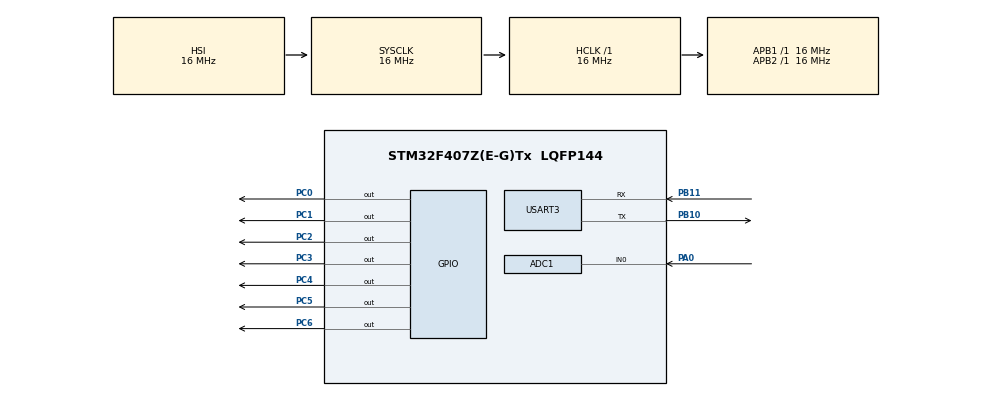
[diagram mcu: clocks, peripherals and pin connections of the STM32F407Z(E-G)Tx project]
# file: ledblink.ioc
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ADC1.Channel-0\#ChannelRegularConversion=ADC_CHANNEL_0
ADC1.ContinuousConvMode=ENABLE
ADC1.EOCSelection=ADC_EOC_SEQ_CONV
ADC1.NbrOfConversionFlag=1
ADC1.Rank-0\#ChannelRegularConversion=1
ADC1.SamplingTime-0\#ChannelRegularConversion=ADC_SAMPLETIME_3CYCLES
ADC1.master=1
Mcu.Family=STM32F4
Mcu.Name=STM32F407Z(E-G)Tx
Mcu.Package=LQFP144
NVIC.PriorityGroup=NVIC_PRIORITYGROUP_4
PA0-WKUP.Signal=ADCx_IN0
PA13.Mode=JTAG_4_pins
PA13.Signal=SYS_JTMS-SWDIO
PA14.Mode=JTAG_4_pins
PA14.Signal=SYS_JTCK-SWCLK
PA15.Mode=JTAG_4_pins
PA15.Signal=SYS_JTDI
PB10.Mode=Asynchronous
PB10.Signal=USART3_TX
PB11.Mode=Asynchronous
PB11.Signal=USART3_RX
PB3.Mode=JTAG_4_pins
PB3.Signal=SYS_JTDO-SWO
PC0.Signal=GPIO_Output
PC1.Signal=GPIO_Output
PC2.Signal=GPIO_Output
PC3.Signal=GPIO_Output
PC4.Signal=GPIO_Output
PC5.Signal=GPIO_Output
PC6.Signal=GPIO_Output
ProjectManager.HeapSize=0x200
ProjectManager.StackSize=0x400
ProjectManager.TargetToolchain=STM32CubeIDE
RCC.AHBFreq_Value=16000000
RCC.APB1Freq_Value=16000000
RCC.APB2Freq_Value=16000000
RCC.CortexFreq_Value=16000000
RCC.HSE_VALUE=25000000
RCC.HSI_VALUE=16000000
RCC.LSE_VALUE=32768
RCC.SYSCLKFreq_VALUE=16000000
RCC.VCOOutputFreq_Value=192000000
SH.ADCx_IN0.0=ADC1_IN0,IN0
USART3.VirtualMode=VM_ASYNC
board=custom

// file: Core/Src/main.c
/* USER CODE BEGIN Header */
/**
  ******************************************************************************
  * @file           : main.c
  * @brief          : Main program body
  ******************************************************************************
  * @attention
  *
  * <h2><center>&copy; Copyright (c) 2021 STMicroelectronics.
  * All rights reserved.</center></h2>
  *
  * This software component is licensed by ST under BSD 3-Clause license,
  * the "License"; You may not use this file except in compliance with the
  * License. You may obtain a copy of the License at:
  *                        opensource.org/licenses/BSD-3-Clause
  *
  ******************************************************************************
  */
/* USER CODE END Header */
#include "main.h"

/* USER CODE BEGIN Includes */
#include <string.h>
/* USER CODE END Includes */

/* USER CODE BEGIN PTD */
#define LED_RED_PIN GPIO_PIN_0
#define LED_GREEN_PIN GPIO_PIN_1
#define LED_BLUE_PIN GPIO_PIN_2
#define LED_PINK_PIN GPIO_PIN_3
#define LED_ORANGE_PIN GPIO_PIN_4
#define LED_WHITE_PIN GPIO_PIN_5
#define LED_IR_PIN GPIO_PIN_6

#define LED_RED_PORT GPIOC
#define LED_GREEN_PORT GPIOC
#define LED_BLUE_PORT GPIOC
#define LED_PINK_PORT GPIOC
#define LED_ORANGE_PORT GPIOC
#define LED_WHITE_PORT GPIOC
#define LED_IR_PORT GPIOC

#define DataNumber 500

void Get_data(GPIO_TypeDef *LED_PORT,GPIO_TypeDef *LED_PIN, uint16_t * values_list, uint16_t counter);
void Transmit_data(char *name, uint16_t *values_list);
/* USER CODE END PTD */

ADC_HandleTypeDef hadc1;

UART_HandleTypeDef huart3;

void SystemClock_Config(void);
static void MX_GPIO_Init(void);
static void MX_USART3_UART_Init(void);
static void MX_ADC1_Init(void);

int main(void)
{

  /* MCU Configuration--------------------------------------------------------*/

  /* Reset of all peripherals, Initializes the Flash interface and the Systick. */
  HAL_Init();

  /* Configure the system clock */
  SystemClock_Config();

  /* Initialize all configured peripherals */
  MX_GPIO_Init();
  MX_USART3_UART_Init();
  MX_ADC1_Init();
  /* USER CODE BEGIN 2 */
  HAL_ADC_Start(&hadc1);

  uint16_t average = 0;
  uint16_t red_values[DataNumber] = {};
  uint16_t blue_values[DataNumber] = {};
  uint16_t green_values[DataNumber] = {};
  uint16_t pink_values[DataNumber] = {};
  uint16_t white_values[DataNumber] = {};
  uint16_t orange_values[DataNumber] = {};
  uint16_t IR_values[DataNumber] = {};

  uint16_t counter = 0; // is the counter of data. will be DataNumber as max value.
  char buffer[10] = "";

  /* USER CODE END 2 */

  /* Infinite loop */
  while (1)
  {

    /* USER CODE BEGIN 3 */

	  while (strcmp(buffer, "start")){
		  HAL_UART_Receive(&huart3, buffer, strlen("start"), HAL_MAX_DELAY);
	  }

//	  HAL_UART_Transmit(&huart3, "getting data.\r\n", strlen("getting data.\r\n"), HAL_MAX_DELAY);
//	  HAL_Delay(2);
//	  HAL_UART_Transmit(&huart3, "getting data..\r\n", strlen("getting data..\r\n"), HAL_MAX_DELAY);
//	  HAL_Delay(2);
//	  HAL_UART_Transmit(&huart3, "getting data...\r\n", strlen("getting data...\r\n"), HAL_MAX_DELAY);
//	  HAL_Delay(2);
//	  HAL_UART_Transmit(&huart3, "getting data....\r\n", strlen("getting data....\r\n"), HAL_MAX_DELAY);

	  for (counter = 0; counter < DataNumber ; ++counter) {

	  Get_data(LED_RED_PORT, LED_RED_PIN, red_values, counter);
	  Get_data(LED_PINK_PORT, LED_PINK_PIN, pink_values, counter);
	  Get_data(LED_BLUE_PORT, LED_BLUE_PIN, blue_values, counter);
	  Get_data(LED_WHITE_PORT, LED_WHITE_PIN, white_values, counter);
//	  Get_data(LED_GREEN_PORT, LED_GREEN_PIN, green_values, counter);
	  Get_data(LED_ORANGE_PORT, LED_ORANGE_PIN, orange_values, counter);

	  }

	  Transmit_data("red\r\n", red_values);
	  Transmit_data("blue\r\n", blue_values);
	  Transmit_data("white\r\n", white_values);
	  Transmit_data("pink\r\n", pink_values);
//	  Transmit_data("green\r\n", green_values);
	  Transmit_data("orange\r\n", orange_values);

	  HAL_UART_Transmit(&huart3, "AllDone!", strlen("AllDone!"), HAL_MAX_DELAY);
	  strcpy(buffer, "");

  }
  /* USER CODE END 3 */
}

void SystemClock_Config(void)
{
  RCC_OscInitTypeDef RCC_OscInitStruct = {0};
  RCC_ClkInitTypeDef RCC_ClkInitStruct = {0};

  /** Configure the main internal regulator output voltage
  */
  __HAL_RCC_PWR_CLK_ENABLE();
  __HAL_PWR_VOLTAGESCALING_CONFIG(PWR_REGULATOR_VOLTAGE_SCALE1);
  /** Initializes the RCC Oscillators according to the specified parameters
  * in the RCC_OscInitTypeDef structure.
  */
  RCC_OscInitStruct.OscillatorType = RCC_OSCILLATORTYPE_HSI;
  RCC_OscInitStruct.HSIState = RCC_HSI_ON;
  RCC_OscInitStruct.HSICalibrationValue = RCC_HSICALIBRATION_DEFAULT;
  RCC_OscInitStruct.PLL.PLLState = RCC_PLL_NONE;
  if (HAL_RCC_OscConfig(&RCC_OscInitStruct) != HAL_OK)
  {
    Error_Handler();
  }
  /** Initializes the CPU, AHB and APB buses clocks
  */
  RCC_ClkInitStruct.ClockType = RCC_CLOCKTYPE_HCLK|RCC_CLOCKTYPE_SYSCLK
                              |RCC_CLOCKTYPE_PCLK1|RCC_CLOCKTYPE_PCLK2;
  RCC_ClkInitStruct.SYSCLKSource = RCC_SYSCLKSOURCE_HSI;
  RCC_ClkInitStruct.AHBCLKDivider = RCC_SYSCLK_DIV1;
  RCC_ClkInitStruct.APB1CLKDivider = RCC_HCLK_DIV1;
  RCC_ClkInitStruct.APB2CLKDivider = RCC_HCLK_DIV1;

  if (HAL_RCC_ClockConfig(&RCC_ClkInitStruct, FLASH_LATENCY_0) != HAL_OK)
  {
    Error_Handler();
  }
}

static void MX_ADC1_Init(void)
{

  ADC_ChannelConfTypeDef sConfig = {0};

  /** Configure the global features of the ADC (Clock, Resolution, Data Alignment and number of conversion)
  */
  hadc1.Instance = ADC1;
  hadc1.Init.ClockPrescaler = ADC_CLOCK_SYNC_PCLK_DIV2;
  hadc1.Init.Resolution = ADC_RESOLUTION_12B;
  hadc1.Init.ScanConvMode = DISABLE;
  hadc1.Init.ContinuousConvMode = ENABLE;
  hadc1.Init.DiscontinuousConvMode = DISABLE;
  hadc1.Init.ExternalTrigConvEdge = ADC_EXTERNALTRIGCONVEDGE_NONE;
  hadc1.Init.ExternalTrigConv = ADC_SOFTWARE_START;
  hadc1.Init.DataAlign = ADC_DATAALIGN_RIGHT;
  hadc1.Init.NbrOfConversion = 1;
  hadc1.Init.DMAContinuousRequests = DISABLE;
  hadc1.Init.EOCSelection = ADC_EOC_SEQ_CONV;
  if (HAL_ADC_Init(&hadc1) != HAL_OK)
  {
    Error_Handler();
  }
  /** Configure for the selected ADC regular channel its corresponding rank in the sequencer and its sample time.
  */
  sConfig.Channel = ADC_CHANNEL_0;
  sConfig.Rank = 1;
  sConfig.SamplingTime = ADC_SAMPLETIME_3CYCLES;
  if (HAL_ADC_ConfigChannel(&hadc1, &sConfig) != HAL_OK)
  {
    Error_Handler();
  }

}

static void MX_USART3_UART_Init(void)
{

  huart3.Instance = USART3;
  huart3.Init.BaudRate = 115200;
  huart3.Init.WordLength = UART_WORDLENGTH_8B;
  huart3.Init.StopBits = UART_STOPBITS_1;
  huart3.Init.Parity = UART_PARITY_NONE;
  huart3.Init.Mode = UART_MODE_TX_RX;
  huart3.Init.HwFlowCtl = UART_HWCONTROL_NONE;
  huart3.Init.OverSampling = UART_OVERSAMPLING_16;
  if (HAL_UART_Init(&huart3) != HAL_OK)
  {
    Error_Handler();
  }

}

static void MX_GPIO_Init(void)
{
  GPIO_InitTypeDef GPIO_InitStruct = {0};

  /* GPIO Ports Clock Enable */
  __HAL_RCC_GPIOC_CLK_ENABLE();
  __HAL_RCC_GPIOA_CLK_ENABLE();
  __HAL_RCC_GPIOB_CLK_ENABLE();

  /*Configure GPIO pin Output Level */
  HAL_GPIO_WritePin(GPIOC, GPIO_PIN_0|GPIO_PIN_1|GPIO_PIN_2|GPIO_PIN_3
                          |GPIO_PIN_4|GPIO_PIN_5|GPIO_PIN_6, GPIO_PIN_RESET);

  /*Configure GPIO pins : PC0 PC1 PC2 PC3
                           PC4 PC5 PC6 */
  GPIO_InitStruct.Pin = GPIO_PIN_0|GPIO_PIN_1|GPIO_PIN_2|GPIO_PIN_3
                          |GPIO_PIN_4|GPIO_PIN_5|GPIO_PIN_6;
  GPIO_InitStruct.Mode = GPIO_MODE_OUTPUT_PP;
  GPIO_InitStruct.Pull = GPIO_NOPULL;
  GPIO_InitStruct.Speed = GPIO_SPEED_FREQ_LOW;
  HAL_GPIO_Init(GPIOC, &GPIO_InitStruct);

}

/* USER CODE BEGIN 4 */

void Get_data(GPIO_TypeDef *LED_PORT,GPIO_TypeDef *LED_PIN, uint16_t * values_list, uint16_t counter){

	uint16_t average = 0;

	HAL_GPIO_WritePin(LED_PORT, LED_PIN, GPIO_PIN_SET);
	average = 0;
	for (int i = 0; i < 10; i++ ) {
	  HAL_ADC_PollForConversion(&hadc1, HAL_MAX_DELAY);
	  average += HAL_ADC_GetValue(&hadc1);
	}
	average *= 0.1;
	values_list[counter] = average;
	HAL_Delay(1);
	HAL_GPIO_WritePin(LED_PORT, LED_PIN, GPIO_PIN_RESET);
	HAL_Delay(1);

}

void Transmit_data(char *name, uint16_t *values_list){

	char msg[10] = "hello\r\n";

	HAL_UART_Transmit(&huart3, name, strlen(name), HAL_MAX_DELAY);
	HAL_Delay(200);
	for (int i = 0; i < DataNumber ; i++) {
		sprintf(msg, "%d\n", values_list[i]);
		HAL_UART_Transmit(&huart3, msg, strlen(msg), HAL_MAX_DELAY);
	}
	//HAL_UART_Transmit(&huart3, "done!\r\n", strlen("done!\r\n"), HAL_MAX_DELAY);
	HAL_Delay(200);
}

/* USER CODE END 4 */

void Error_Handler(void)
{
  __disable_irq();
  while (1)
  {
  }
}

/************************ (C) COPYRIGHT STMicroelectronics *****END OF FILE****/
